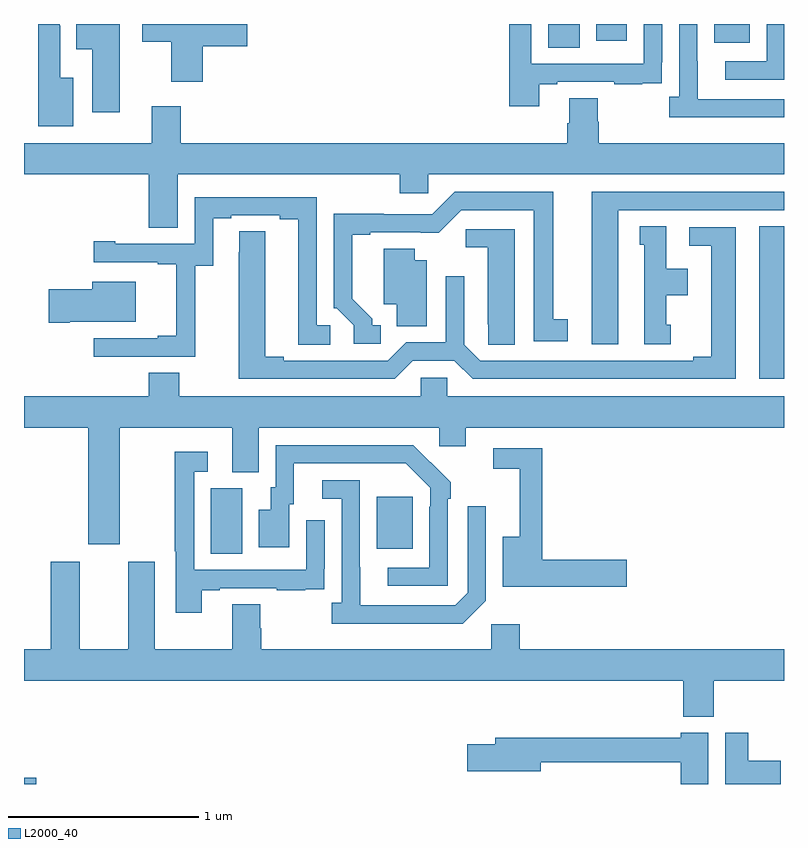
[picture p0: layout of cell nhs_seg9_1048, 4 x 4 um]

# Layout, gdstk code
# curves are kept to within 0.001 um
import gdstk
lib = gdstk.Library(unit=1e-6, precision=1e-09)
def R(c, l, rs):  # rectangles x0, y0, x1, y1
    for r in rs: c.add(gdstk.rectangle(r[:2], r[2:], *l))
def P(c, l, *ps):  # polygons
    for p in ps: c.add(gdstk.Polygon(p, *l))
L2000_40 = (2000, 40)

nhs_seg9_1048 = lib.new_cell('nhs_seg9_1048')
R(nhs_seg9_1048, L2000_40, [(167,1238.5,167.065,1238.534), (167.984,1239.712,168.148,1240.056), (168.857,1239.737,169.045,1240.012), (170.87,1240.632,171,1241.435), (169.76,1242.376,169.924,1242.5), (170.633,1242.401,170.821,1242.5), (170.012,1242.411,170.173,1242.5)])
P(nhs_seg9_1048, L2000_40, [(171,1242.105),(170.545,1242.105),(170.545,1242.305),(170.544,1242.305),(170.544,1242.5),(170.448,1242.5),(170.448,1242.118),(170.397,1242.118),(170.397,1242.008),(171,1242.008)],
  [(167.942,1242.383),(168.175,1242.383),(168.175,1242.5),(167.622,1242.5),(167.622,1242.406),(167.774,1242.406),(167.774,1242.195),(167.942,1242.195)],
  [(171,1242.5),(170.91,1242.5),(170.91,1242.303),(170.691,1242.303),(170.691,1242.207),(171,1242.207)],
  [(167.26,1242.217),(167.191,1242.217),(167.191,1242.491),(167.187,1242.491),(167.187,1242.5),(167.075,1242.5),(167.075,1241.963),(167.26,1241.963)],
  [(169.711,1242.183),(169.807,1242.183),(169.807,1242.195),(170.107,1242.195),(170.107,1242.183),(170.255,1242.183),(170.255,1242.189),(170.357,1242.189),(170.357,1242.298),(170.358,1242.298),(170.358,1242.5),(170.262,1242.5),(170.262,1242.291),(169.671,1242.291),(169.671,1242.5),(169.555,1242.5),(169.555,1242.066),(169.711,1242.066)],
  [(167.503,1242.499),(167.276,1242.499),(167.276,1242.368),(167.36,1242.368),(167.36,1242.036),(167.503,1242.036)],
  [(167.809,1241.708),(168.977,1241.708),(168.977,1241.61),(169.128,1241.61),(169.128,1241.708),(171,1241.708),(171,1241.872),(170.024,1241.872),(170.024,1241.985),(170.019,1241.985),(170.019,1242.11),(169.871,1242.11),(169.871,1241.978),(169.859,1241.978),(169.859,1241.872),(167.825,1241.872),(167.825,1242.067),(167.672,1242.067),(167.672,1241.872),(167,1241.872),(167,1241.708),(167.657,1241.708),(167.657,1241.428),(167.809,1241.428)],
  [(170.128,1241.52),(171,1241.52),(171,1241.616),(169.988,1241.616),(169.988,1240.815),(170.128,1240.815)],
  [(168.877,1240.914),(168.832,1240.914),(168.832,1240.949),(168.727,1241.054),(168.727,1241.391),(168.823,1241.391),(168.823,1241.403),(169.184,1241.402),(169.302,1241.52),(169.682,1241.52),(169.682,1240.83),(169.861,1240.83),(169.861,1240.946),(169.786,1240.946),(169.786,1241.616),(169.266,1241.616),(169.149,1241.499),(168.893,1241.499),(168.893,1241.501),(168.63,1241.501),(168.63,1241.004),(168.645,1241.004),(168.735,1240.914),(168.735,1240.818),(168.877,1240.818)],
  [(167.901,1241.227),(167.995,1241.227),(167.995,1241.478),(168.091,1241.478),(168.091,1241.493),(168.347,1241.493),(168.347,1241.473),(168.443,1241.473),(168.443,1240.813),(168.613,1240.813),(168.613,1240.914),(168.54,1240.914),(168.54,1241.589),(167.898,1241.589),(167.898,1241.343),(167.479,1241.343),(167.479,1241.356),(167.367,1241.356),(167.367,1241.247),(167.705,1241.247),(167.705,1241.235),(167.801,1241.235),(167.801,1240.858),(167.705,1240.858),(167.705,1240.845),(167.367,1240.845),(167.367,1240.749),(167.901,1240.749)],
  [(170.404,1240.917),(170.38,1240.917),(170.38,1241.072),(170.494,1241.072),(170.494,1241.212),(170.38,1241.212),(170.38,1241.435),(170.24,1241.435),(170.24,1241.337),(170.264,1241.337),(170.264,1240.815),(170.404,1240.815)],
  [(169.047,1240.728),(169.265,1240.728),(169.361,1240.632),(170.746,1240.632),(170.746,1241.43),(170.502,1241.43),(170.502,1241.334),(170.618,1241.334),(170.618,1240.748),(170.522,1240.748),(170.522,1240.728),(169.401,1240.728),(169.317,1240.812),(169.317,1241.173),(169.221,1241.173),(169.221,1240.824),(169.011,1240.824),(168.915,1240.728),(168.367,1240.728),(168.367,1240.748),(168.271,1240.748),(168.271,1241.408),(168.132,1241.408),(168.131,1240.632),(168.951,1240.632)],
  [(169.582,1241.421),(169.326,1241.421),(169.326,1241.324),(169.442,1241.324),(169.442,1240.921),(169.443,1240.921),(169.443,1240.813),(169.582,1240.813)],
  [(169.12,1241.257),(169.057,1241.257),(169.057,1241.318),(168.893,1241.318),(168.893,1241.024),(168.962,1241.024),(168.962,1240.909),(169.12,1240.909)],
  [(167.242,1240.934),(167.587,1240.934),(167.587,1241.143),(167.36,1241.143),(167.36,1241.105),(167.13,1241.105),(167.13,1240.927),(167.242,1240.927)],
  [(167.503,1240.376),(168.095,1240.376),(168.095,1240.141),(168.235,1240.141),(168.235,1240.376),(169.185,1240.376),(169.185,1240.278),(169.324,1240.278),(169.324,1240.376),(171,1240.376),(171,1240.54),(169.227,1240.54),(169.227,1240.638),(169.089,1240.638),(169.089,1240.54),(167.817,1240.54),(167.817,1240.664),(167.657,1240.664),(167.657,1240.54),(167,1240.54),(167,1240.376),(167.339,1240.376),(167.339,1239.762),(167.503,1239.762)],
  [(169.23,1240.001),(169.245,1240.001),(169.245,1240.089),(169.048,1240.284),(168.324,1240.284),(168.324,1240.062),(168.299,1240.062),(168.299,1239.943),(168.236,1239.943),(168.236,1239.747),(168.397,1239.747),(168.397,1239.972),(168.421,1239.972),(168.421,1240.188),(169.009,1240.188),(169.137,1240.059),(169.137,1239.959),(169.134,1239.959),(169.134,1239.639),(168.915,1239.639),(168.915,1239.543),(169.23,1239.543)],
  [(170.173,1239.68),(169.727,1239.68),(169.727,1240.266),(169.47,1240.266),(169.47,1240.158),(169.61,1240.158),(169.61,1239.802),(169.52,1239.802),(169.52,1239.538),(170.173,1239.538)],
  [(167.935,1239.519),(168.031,1239.519),(168.031,1239.531),(168.331,1239.531),(168.331,1239.519),(168.479,1239.519),(168.479,1239.525),(168.581,1239.525),(168.581,1239.634),(168.582,1239.634),(168.582,1239.889),(168.486,1239.889),(168.486,1239.627),(167.895,1239.627),(167.895,1240.143),(167.968,1240.143),(167.968,1240.249),(167.794,1240.249),(167.794,1239.724),(167.799,1239.724),(167.799,1239.402),(167.935,1239.402)],
  [(169.431,1239.465),(169.431,1239.961),(169.335,1239.961),(169.335,1239.507),(169.269,1239.441),(168.769,1239.441),(168.768,1240.098),(168.57,1240.098),(168.57,1240.002),(168.672,1240.002),(168.672,1239.454),(168.621,1239.454),(168.621,1239.344),(169.31,1239.344)],
  [(170.631,1239.044),(171,1239.044),(171,1239.208),(169.61,1239.208),(169.61,1239.34),(169.458,1239.34),(169.458,1239.208),(168.248,1239.208),(168.248,1239.321),(168.243,1239.321),(168.243,1239.446),(168.095,1239.446),(168.095,1239.208),(167.689,1239.208),(167.689,1239.67),(167.549,1239.67),(167.549,1239.208),(167.293,1239.208),(167.293,1239.67),(167.141,1239.67),(167.141,1239.208),(167,1239.208),(167,1239.044),(170.471,1239.044),(170.471,1238.855),(170.631,1238.855)],
  [(170.983,1238.623),(170.812,1238.623),(170.812,1238.77),(170.69,1238.77),(170.69,1238.5),(170.983,1238.5)],
  [(170.602,1238.77),(170.456,1238.77),(170.456,1238.743),(169.481,1238.743),(169.481,1238.709),(169.332,1238.709),(169.332,1238.567),(169.72,1238.567),(169.72,1238.614),(170.456,1238.614),(170.456,1238.5),(170.602,1238.5)])

lib.write_gds('nhs_seg9_1048.gds')
